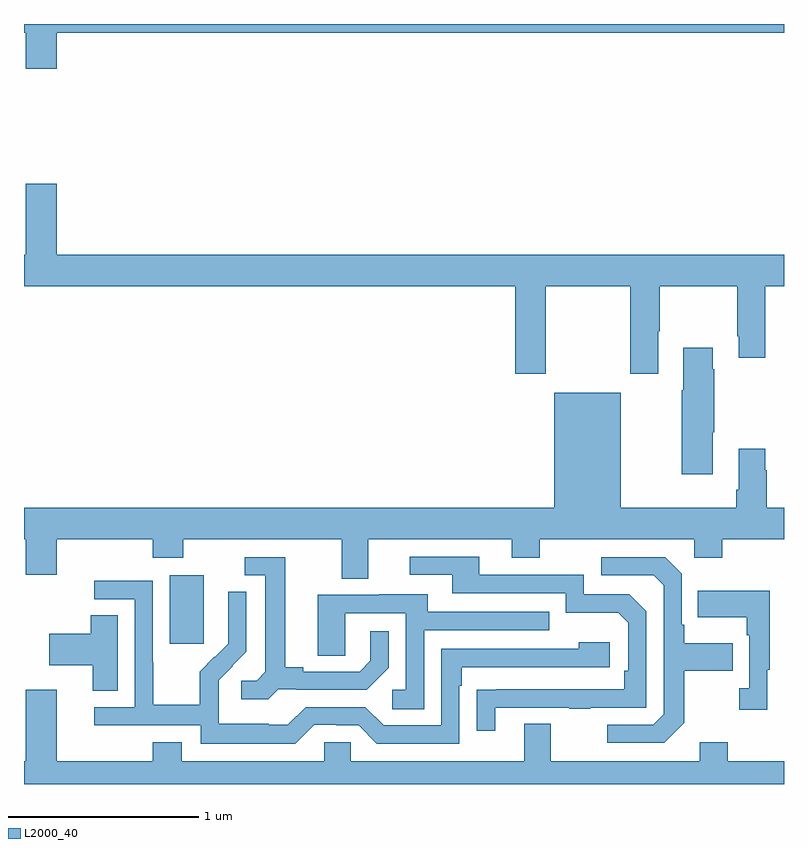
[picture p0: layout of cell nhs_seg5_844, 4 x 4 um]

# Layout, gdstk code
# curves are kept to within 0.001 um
import gdstk
lib = gdstk.Library(unit=1e-6, precision=1e-09)
def R(c, l, rs):  # rectangles x0, y0, x1, y1
    for r in rs: c.add(gdstk.rectangle(r[:2], r[2:], *l))
def P(c, l, *ps):  # polygons
    for p in ps: c.add(gdstk.Polygon(p, *l))
L2000_40 = (2000, 40)

nhs_seg5_844 = lib.new_cell('nhs_seg5_844')
R(nhs_seg5_844, L2000_40, [(165.767,861.537,165.946,861.898)])
P(nhs_seg5_844, L2000_40, [(165.172,864.752),(169,864.752),(169,864.799),(165,864.799),(165,864.752),(165.008,864.752),(165.008,864.564),(165.172,864.564)],
  [(167.745,863.42),(168.19,863.42),(168.19,862.959),(168.337,862.959),(168.337,863.182),(168.345,863.182),(168.345,863.42),(168.754,863.42),(168.754,863.155),(168.761,863.155),(168.761,863.043),(168.901,863.043),(168.901,863.42),(169,863.42),(169,863.584),(165.172,863.584),(165.172,863.959),(165.008,863.959),(165.008,863.584),(165,863.584),(165,863.42),(167.585,863.42),(167.585,862.959),(167.745,862.959)],
  [(168.625,862.651),(168.633,862.651),(168.633,862.982),(168.625,862.982),(168.625,863.095),(168.47,863.095),(168.47,862.871),(168.463,862.871),(168.463,862.428),(168.625,862.428)],
  [(166.813,862.088),(167.567,862.088),(167.567,861.989),(167.715,861.989),(167.715,862.088),(168.528,862.088),(168.528,861.989),(168.675,861.989),(168.675,862.088),(169,862.088),(169,862.252),(168.909,862.252),(168.909,862.451),(168.901,862.451),(168.901,862.564),(168.761,862.564),(168.761,862.348),(168.749,862.348),(168.749,862.252),(168.142,862.252),(168.142,862.858),(167.792,862.858),(167.792,862.252),(165,862.252),(165,862.088),(165.008,862.088),(165.008,861.9),(165.172,861.9),(165.172,862.088),(165.677,862.088),(165.677,861.989),(165.837,861.989),(165.837,862.088),(166.673,862.088),(166.673,861.88),(166.813,861.88)],
  [(167.479,861.201),(167.869,861.201),(167.869,861.196),(167.981,861.196),(167.981,861.201),(168.276,861.201),(168.276,861.708),(168.186,861.798),(167.946,861.798),(167.946,861.9),(167.395,861.9),(167.395,861.996),(167.031,861.996),(167.031,861.9),(167.255,861.9),(167.255,861.804),(167.85,861.804),(167.85,861.701),(168.127,861.701),(168.18,861.648),(168.18,861.394),(168.16,861.394),(168.16,861.297),(167.383,861.296),(167.383,861.078),(167.479,861.078)],
  [(168.475,861.121),(168.475,861.394),(168.731,861.394),(168.731,861.541),(168.475,861.541),(168.475,861.637),(168.462,861.637),(168.462,861.906),(168.375,861.993),(168.039,861.993),(168.039,861.897),(168.315,861.897),(168.366,861.846),(168.366,861.165),(168.312,861.111),(168.069,861.111),(168.069,861.015),(168.369,861.015)],
  [(166.338,861.297),(166.432,861.297),(166.432,861.294),(166.804,861.294),(166.92,861.41),(166.92,861.604),(166.823,861.604),(166.823,861.447),(166.766,861.39),(166.471,861.39),(166.471,861.413),(166.375,861.413),(166.375,861.993),(166.161,861.993),(166.161,861.897),(166.271,861.897),(166.271,861.389),(166.224,861.342),(166.143,861.342),(166.143,861.245),(166.286,861.245)],
  [(166.527,861.111),(166.643,861.111),(166.643,861.108),(166.761,861.108),(166.857,861.012),(167.292,861.012),(167.292,861.317),(167.305,861.317),(167.305,861.414),(168.082,861.414),(168.082,861.544),(167.921,861.544),(167.921,861.51),(167.196,861.51),(167.196,861.108),(166.893,861.108),(166.797,861.204),(166.482,861.204),(166.389,861.111),(166.289,861.111),(166.289,861.115),(166.026,861.115),(166.026,861.249),(166.024,861.249),(166.024,861.346),(166.17,861.494),(166.17,861.812),(166.074,861.812),(166.074,861.658),(166.076,861.658),(166.076,861.536),(166.005,861.465),(166.002,861.468),(165.925,861.391),(165.925,861.217),(165.681,861.217),(165.681,861.44),(165.678,861.44),(165.678,861.87),(165.369,861.87),(165.369,861.771),(165.582,861.771),(165.582,861.204),(165.369,861.204),(165.369,861.108),(165.93,861.108),(165.93,861.011),(166.427,861.011)],
  [(168.913,861.401),(168.925,861.401),(168.925,861.817),(168.547,861.817),(168.547,861.677),(168.804,861.677),(168.804,861.581),(168.816,861.581),(168.816,861.302),(168.765,861.302),(168.765,861.189),(168.913,861.189)],
  [(167.106,861.609),(167.765,861.609),(167.765,861.705),(167.125,861.705),(167.125,861.799),(166.871,861.799),(166.871,861.795),(166.547,861.795),(166.547,861.475),(166.692,861.475),(166.692,861.699),(167.01,861.699),(167.01,861.294),(166.938,861.294),(166.938,861.193),(167.106,861.193)],
  [(165.493,861.686),(165.35,861.686),(165.35,861.591),(165.132,861.591),(165.132,861.425),(165.362,861.425),(165.362,861.289),(165.493,861.289)],
  [(169,860.92),(168.705,860.92),(168.705,861.019),(168.557,861.019),(168.557,860.92),(167.773,860.92),(167.773,861.115),(167.633,861.115),(167.633,860.92),(166.719,860.92),(166.719,861.018),(166.581,861.018),(166.581,860.92),(165.829,860.92),(165.829,861.019),(165.677,861.019),(165.677,860.92),(165.172,860.92),(165.172,861.295),(165.008,861.295),(165.008,860.92),(165,860.92),(165,860.799),(169,860.799)])

lib.write_gds('nhs_seg5_844.gds')
